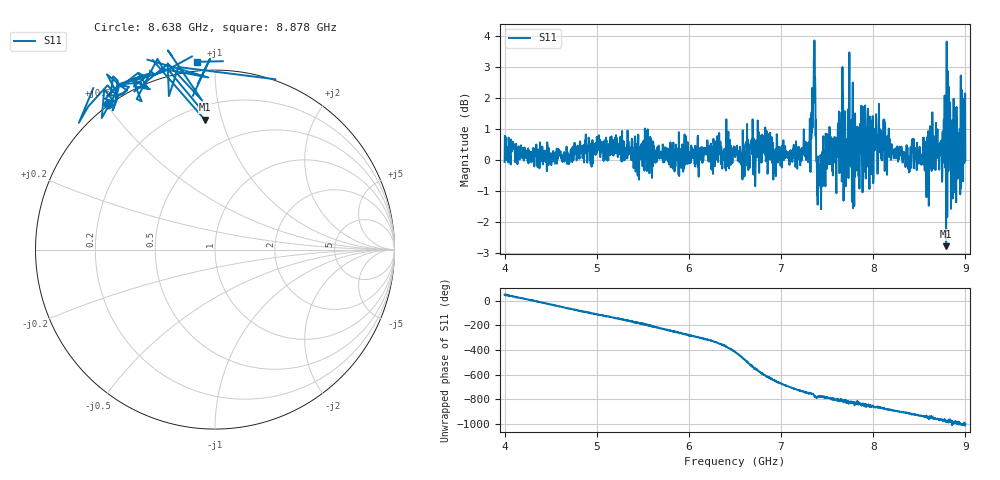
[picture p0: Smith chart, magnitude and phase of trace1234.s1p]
! Created with skrf 1.8.0 (http://scikit-rf.org).
# Hz S RI R 50.0
!freq ReS11 ImS11
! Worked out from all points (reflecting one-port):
!   1601 points, 4 GHz to 9 GHz, reference 50 ohm
!   lowest |S11| = -2.8 dB at 8.791 GHz (marker M1), VSWR 6.28, Z = 14.4 + j44.1 ohm
!   phase of S11 starts at 50 deg and turns -1051 deg over the sweep
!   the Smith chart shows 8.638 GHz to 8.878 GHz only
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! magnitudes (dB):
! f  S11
! 4 GHz  -0.1
! 4.625 GHz  -0.1
! 5.25 GHz  0.3
! 5.875 GHz  0.1
! 6.5 GHz  0.1
! 7.125 GHz  0.3
! 7.294 GHz  -0.1
! 7.347 GHz  1.9
! 7.362 GHz  3.8
! 7.4 GHz  0.1
! 7.412 GHz  -0.8
! 7.509 GHz  0.1
! 7.65 GHz  1.0
! 7.75 GHz  0.2
! 7.769 GHz  -1.4
! 7.891 GHz  0.9
! 7.981 GHz  -0.5
! 8.047 GHz  -0.5
! 8.375 GHz  -0.1
! 8.441 GHz  -0.3
! 8.581 GHz  0.2
! 8.631 GHz  0.5
! 8.725 GHz  0.6
! 8.791 GHz  -2.8
! 8.819 GHz  0.4
! 8.869 GHz  -0.6
! 8.972 GHz  0.8
! 9 GHz  0.0
